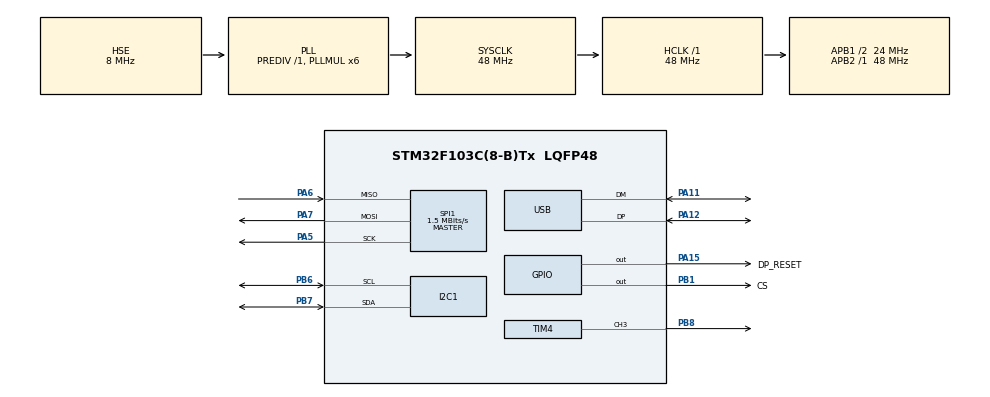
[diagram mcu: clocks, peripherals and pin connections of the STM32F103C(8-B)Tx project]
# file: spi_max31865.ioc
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FREERTOS.Tasks01=defaultTask,24,128,StartDefaultTask,Default,NULL,Dynamic,NULL,NULL
FREERTOS.configUSE_NEWLIB_REENTRANT=1
FREERTOS.configUSE_TICKLESS_IDLE=1
I2C1.I2C_Mode=I2C_Fast
Mcu.Family=STM32F1
Mcu.Name=STM32F103C(8-B)Tx
Mcu.Package=LQFP48
NVIC.I2C1_EV_IRQn=true\:5\:0\:false\:false\:true\:true\:true\:true\:true
NVIC.PriorityGroup=NVIC_PRIORITYGROUP_4
NVIC.TIM2_IRQn=true\:15\:0\:false\:false\:true\:false\:false\:true\:true
NVIC.TimeBase=TIM2_IRQn
NVIC.TimeBaseIP=TIM2
NVIC.USB_LP_CAN1_RX0_IRQn=true\:5\:0\:false\:false\:true\:true\:false\:true\:true
PA11.Mode=Device
PA11.Signal=USB_DM
PA12.Mode=Device
PA12.Signal=USB_DP
PA13.Mode=Serial_Wire
PA13.Signal=SYS_JTMS-SWDIO
PA14.Mode=Serial_Wire
PA14.Signal=SYS_JTCK-SWCLK
PA15.GPIO_Label=DP_RESET
PA15.PinState=GPIO_PIN_SET
PA15.Signal=GPIO_Output
PA5.Mode=Full_Duplex_Master
PA5.Signal=SPI1_SCK
PA6.Mode=Full_Duplex_Master
PA6.Signal=SPI1_MISO
PA7.Mode=Full_Duplex_Master
PA7.Signal=SPI1_MOSI
PB1.GPIO_Label=CS
PB1.GPIO_Speed=GPIO_SPEED_FREQ_HIGH
PB1.PinState=GPIO_PIN_SET
PB1.Signal=GPIO_Output
PB6.Mode=I2C
PB6.Signal=I2C1_SCL
PB7.Mode=I2C
PB7.Signal=I2C1_SDA
PB8.Signal=S_TIM4_CH3
PD0-OSC_IN.Mode=HSE-External-Oscillator
PD0-OSC_IN.Signal=RCC_OSC_IN
PD1-OSC_OUT.Mode=HSE-External-Oscillator
PD1-OSC_OUT.Signal=RCC_OSC_OUT
ProjectManager.HeapSize=0x200
ProjectManager.StackSize=0x400
ProjectManager.TargetToolchain=STM32CubeIDE
RCC.AHBFreq_Value=48000000
RCC.APB1CLKDivider=RCC_HCLK_DIV2
RCC.APB1Freq_Value=24000000
RCC.APB1TimFreq_Value=48000000
RCC.APB2Freq_Value=48000000
RCC.APB2TimFreq_Value=48000000
RCC.EnbaleCSS=true
RCC.HCLKFreq_Value=48000000
RCC.PLLMUL=RCC_PLL_MUL6
RCC.PLLSourceVirtual=RCC_PLLSOURCE_HSE
RCC.SYSCLKFreq_VALUE=48000000
RCC.SYSCLKSource=RCC_SYSCLKSOURCE_PLLCLK
RCC.USBFreq_Value=48000000
SH.S_TIM4_CH3.0=TIM4_CH3,PWM Generation3 CH3
SPI1.BaudRatePrescaler=SPI_BAUDRATEPRESCALER_32
SPI1.CLKPhase=SPI_PHASE_2EDGE
SPI1.CalculateBaudRate=1.5 MBits/s
SPI1.Direction=SPI_DIRECTION_2LINES
SPI1.Mode=SPI_MODE_MASTER
SPI1.VirtualType=VM_MASTER
TIM4.AutoReloadPreload=TIM_AUTORELOAD_PRELOAD_ENABLE
TIM4.Channel-PWM\ Generation3\ CH3=TIM_CHANNEL_3
TIM4.CounterMode=TIM_COUNTERMODE_UP
TIM4.OCPolarity_3=TIM_OCPOLARITY_HIGH
TIM4.Period=4800-1
TIM4.Prescaler=0
TIM4.Pulse-PWM\ Generation3\ CH3=0
USB_DEVICE.CLASS_NAME_FS=CUSTOM_HID
USB_DEVICE.PID_CUSTOMHID_FS=22356
USB_DEVICE.PRODUCT_STRING_CUSTOMHID_FS=Infrared Soldering Station
USB_DEVICE.USBD_CUSTOMHID_OUTREPORT_BUF_SIZE=4
USB_DEVICE.USBD_CUSTOM_HID_REPORT_DESC_SIZE=27
USB_DEVICE.VirtualMode=CustomHid
USB_DEVICE.VirtualModeFS=Custom_Hid_FS
VP_FREERTOS_VS_CMSIS_V2.Mode=CMSIS_V2
VP_SYS_VS_tim2.Mode=TIM2
VP_TIM4_VS_ClockSourceINT.Mode=Internal
VP_USB_DEVICE_VS_USB_DEVICE_CUSTOM_HID_FS.Mode=CUSTOM_HID_FS
board=custom

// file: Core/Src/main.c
/* USER CODE BEGIN Header */
/**
 ******************************************************************************
 * @file           : main.c
 * @brief          : Main program body
 ******************************************************************************
 * @attention
 *
 * Copyright (c) 2025 STMicroelectronics.
 * All rights reserved.
 *
 * This software is licensed under terms that can be found in the LICENSE file
 * in the root directory of this software component.
 * If no LICENSE file comes with this software, it is provided AS-IS.
 *
 ******************************************************************************
 */
/* USER CODE END Header */
#include "main.h"
#include "cmsis_os.h"
#include "i2c.h"
#include "spi.h"
#include "tim.h"
#include "usb_device.h"
#include "gpio.h"

/* USER CODE BEGIN Includes */
#include <stdio.h>
#include "ssd1306.h"
#include "ssd1306_fonts.h"
#include "max31865.h"
/* USER CODE END Includes */

/* USER CODE BEGIN PD */
#define osCMSIS_FREERTOS_C 0
/* USER CODE END PD */

/* USER CODE BEGIN PV */
MAX31865_t hMAX31865 = { .spi = &hspi1, .cs_gpio = CS_GPIO_Port, .cs_pin = CS_Pin };
/* USER CODE END PV */

void SystemClock_Config(void);
void MX_FREERTOS_Init(void);

int main(void)
{

  /* MCU Configuration--------------------------------------------------------*/

  /* Reset of all peripherals, Initializes the Flash interface and the Systick. */
  HAL_Init();

  /* Configure the system clock */
  SystemClock_Config();

  /* Initialize all configured peripherals */
  MX_GPIO_Init();
  MX_I2C1_Init();
  MX_SPI1_Init();
  MX_TIM4_Init();
  /* USER CODE BEGIN 2 */
  ssd1306_Init();
  ssd1306_Fill(Black);

  Max31865_Init(&hMAX31865, MAX31865_2_WIRE);
  /* USER CODE END 2 */

  /* Init scheduler */
  osKernelInitialize();  /* Call init function for freertos objects (in cmsis_os2.c) */
  MX_FREERTOS_Init();

  /* Start scheduler */
  osKernelStart();

  /* We should never get here as control is now taken by the scheduler */

  /* Infinite loop */
  while (1) {

  }
}

void SystemClock_Config(void)
{
  RCC_OscInitTypeDef RCC_OscInitStruct = {0};
  RCC_ClkInitTypeDef RCC_ClkInitStruct = {0};
  RCC_PeriphCLKInitTypeDef PeriphClkInit = {0};

  /** Initializes the RCC Oscillators according to the specified parameters
  * in the RCC_OscInitTypeDef structure.
  */
  RCC_OscInitStruct.OscillatorType = RCC_OSCILLATORTYPE_HSE;
  RCC_OscInitStruct.HSEState = RCC_HSE_ON;
  RCC_OscInitStruct.HSEPredivValue = RCC_HSE_PREDIV_DIV1;
  RCC_OscInitStruct.HSIState = RCC_HSI_ON;
  RCC_OscInitStruct.PLL.PLLState = RCC_PLL_ON;
  RCC_OscInitStruct.PLL.PLLSource = RCC_PLLSOURCE_HSE;
  RCC_OscInitStruct.PLL.PLLMUL = RCC_PLL_MUL6;
  if (HAL_RCC_OscConfig(&RCC_OscInitStruct) != HAL_OK)
  {
    Error_Handler();
  }

  /** Initializes the CPU, AHB and APB buses clocks
  */
  RCC_ClkInitStruct.ClockType = RCC_CLOCKTYPE_HCLK|RCC_CLOCKTYPE_SYSCLK
                              |RCC_CLOCKTYPE_PCLK1|RCC_CLOCKTYPE_PCLK2;
  RCC_ClkInitStruct.SYSCLKSource = RCC_SYSCLKSOURCE_PLLCLK;
  RCC_ClkInitStruct.AHBCLKDivider = RCC_SYSCLK_DIV1;
  RCC_ClkInitStruct.APB1CLKDivider = RCC_HCLK_DIV2;
  RCC_ClkInitStruct.APB2CLKDivider = RCC_HCLK_DIV1;

  if (HAL_RCC_ClockConfig(&RCC_ClkInitStruct, FLASH_LATENCY_1) != HAL_OK)
  {
    Error_Handler();
  }
  PeriphClkInit.PeriphClockSelection = RCC_PERIPHCLK_USB;
  PeriphClkInit.UsbClockSelection = RCC_USBCLKSOURCE_PLL;
  if (HAL_RCCEx_PeriphCLKConfig(&PeriphClkInit) != HAL_OK)
  {
    Error_Handler();
  }

  /** Enables the Clock Security System
  */
  HAL_RCC_EnableCSS();
}

void HAL_TIM_PeriodElapsedCallback(TIM_HandleTypeDef *htim)
{
  if (htim->Instance == TIM2)
  {
    HAL_IncTick();
  }
}

void Error_Handler(void)
{
  __disable_irq();
  while (1) {
  }
}

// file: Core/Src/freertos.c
/* USER CODE BEGIN Header */
/**
 ******************************************************************************
 * File Name          : freertos.c
 * Description        : Code for freertos applications
 ******************************************************************************
 * @attention
 *
 * Copyright (c) 2025 STMicroelectronics.
 * All rights reserved.
 *
 * This software is licensed under terms that can be found in the LICENSE file
 * in the root directory of this software component.
 * If no LICENSE file comes with this software, it is provided AS-IS.
 *
 ******************************************************************************
 */
/* USER CODE END Header */

#include "FreeRTOS.h"
#include "task.h"
#include "main.h"
#include "cmsis_os.h"

/* USER CODE BEGIN Includes */
#include <stdbool.h>
#include "queue.h"
#include "usbd_customhid.h"
#include "ssd1306.h"
#include "ssd1306_fonts.h"
#include "max31865.h"
#include "my_functions.h"
#include "definition.h"
/* USER CODE END Includes */

/* USER CODE BEGIN PD */
// Тайминги (в мс)
#define DT 500
/* USER CODE END PD */

/* USER CODE BEGIN Variables */
TaskHandle_t taskShowHandle;

/*QueueHandle_t xQueueSSD1306;*/
extern USBD_HandleTypeDef hUsbDeviceFS;
extern TIM_HandleTypeDef htim4;

// Данные полученные по USB
extern varReceivingUSB_t receivingData;
extern MAX31865_t hMAX31865;
varMAX31865_t varData;
/* USER CODE END Variables */
/* Definitions for defaultTask */
osThreadId_t defaultTaskHandle;
const osThreadAttr_t defaultTask_attributes = { .name = "defaultTask", .stack_size = 128 * 4, .priority = (osPriority_t) osPriorityNormal, };

/* USER CODE BEGIN FunctionPrototypes */
// Обработчик ошибок
void vErrorHandler(void);
// Прототип callback фукнции задачи получения значения температуры с датчика MAX31865
void vTaskGetTemp(void *argument);
// Прототип callback функции задачи вывода на экран данных, из очереди задач
void vTaskShow(void *argument);
/* USER CODE END FunctionPrototypes */

void StartDefaultTask(void *argument);

extern void MX_USB_DEVICE_Init(void);
void MX_FREERTOS_Init(void); /* (MISRA C 2004 rule 8.1) */

/* USER CODE BEGIN PREPOSTSLEEP */
__weak void PreSleepProcessing(uint32_t ulExpectedIdleTime) {
  /* place for user code */
}

__weak void PostSleepProcessing(uint32_t ulExpectedIdleTime) {
  /* place for user code */
}
/* USER CODE END PREPOSTSLEEP */

void MX_FREERTOS_Init(void) {

  /* Create the thread(s) */
  /* creation of defaultTask */
  defaultTaskHandle = osThreadNew(StartDefaultTask, NULL, &defaultTask_attributes);

  /* USER CODE BEGIN RTOS_THREADS */
  // Задача получения температуры с датчика MAX31865
  if (xTaskCreate(vTaskGetTemp, NULL, 128, NULL, osPriorityNormal, NULL) == pdFAIL) {
    vErrorHandler();
  }
  // Задача вывода значения температуры на экран
  if (xTaskCreate(vTaskShow, NULL, 128, NULL, osPriorityNormal, &taskShowHandle) == pdFAIL) {
    vErrorHandler();
  }
  /* USER CODE END RTOS_THREADS */

}

void StartDefaultTask(void *argument) {
  /* init code for USB_DEVICE */
  MX_USB_DEVICE_Init();
  /* USER CODE BEGIN StartDefaultTask */
  TickType_t xLastWakeTime = xTaskGetTickCount();
  float dt = DT / 1000.0f;
  const float setPoint = 220.0f;        // Целевая температура

  float deltaPerCycle = 4 * dt;         // Скорость нагрева 2°C/цикл
  float deltaTemp = 0.0f;               // Разность между уставкой setPoint и текущй температурой
  float boostKp = setPoint / 5.0f;      // На данном участке Kp увеличивается
  float limitedSetpoint = 0.0f;         // Ограниченная уставка
  float deltaSetpoint = 0.0f;

  const float minOut = 0.0f;
  //float maxOut = (float) htim4.Init.Period + 1;
  const float maxOut = 4800.0f;
  float errorCurrent = 0.0f;
  float errorIntegral = 0.0f;

  float result = 0.0f;

  // Сбрасываем линию USB_DP при перезагрузке микроконтроллера
  HAL_GPIO_WritePin(DP_RESET_GPIO_Port, DP_RESET_Pin, GPIO_PIN_RESET);
  vTaskDelay(20);
  HAL_GPIO_WritePin(DP_RESET_GPIO_Port, DP_RESET_Pin, GPIO_PIN_SET);

  for (;;) {
    // Ожидание данных из очереди
    if (receivingData.reportID == 1) {
      // Проверяем, активен ли выход канала 3, если нет, то запускаем ШИМ
      if ((TIM4->CCER & TIM_CCER_CC3E) == 0) {
        HAL_TIM_PWM_Start(&htim4, TIM_CHANNEL_3);
        limitedSetpoint = varData.temp;  // Начинаем с текущей температуры
      }

      // Вычисляем разность между целевой и ограниченной уставками
      deltaSetpoint = setPoint - limitedSetpoint;

      // Применение ограничения скорости
      if (deltaSetpoint > deltaPerCycle) {
        // Нагревание, с каждым циклом увеличиваем limitedSetpoint на 2°C/цикл
        limitedSetpoint += deltaPerCycle;
      } else if (deltaSetpoint < -deltaPerCycle) {
        // Остывание, с каждым циклом уменьшаем limited_setpoint на 2°C/цикл
        limitedSetpoint -= deltaPerCycle;
      } else {
        // Температура достигла уставки
        limitedSetpoint = setPoint;
      }

      // Вычисление ошибки, разница между уставкой и измеренной температурой
      errorCurrent = limitedSetpoint - varData.temp;

      errorIntegral += errorCurrent * dt * receivingData.ki / 5.0f;

      deltaTemp = setPoint - varData.temp;
      if (deltaTemp < boostKp && deltaTemp > 0) {
        // Увеличение коэффициента kp включаем только при приближении к setPoint, снизу
        result = errorCurrent * receivingData.kp * 2 + errorIntegral;
      } else {
        result = errorCurrent * receivingData.kp + errorIntegral;
      }

      // Проверяем насыщение выхода
      if (result >= maxOut) {
        result = maxOut;
      } else if (result <= minOut) {
        result = minOut;
      }

      htim4.Instance->CCR3 = (uint16_t) result;
    } else if (receivingData.reportID == 2) {
      // Проверяем, активен ли выход канала 3, если да, то останавливаем ШИМ
      if (TIM4->CCER & TIM_CCER_CC3E) {
        HAL_TIM_PWM_Stop(&htim4, TIM_CHANNEL_3);
        htim4.Instance->CCR3 = 0;
        errorIntegral = 400.0f;
      }
    }
    vTaskDelayUntil(&xLastWakeTime, pdMS_TO_TICKS(DT));
  }
  /* USER CODE END StartDefaultTask */
}

/* USER CODE BEGIN Application */
void vErrorHandler() {
  __set_FAULTMASK(1); // Запрещаем все маскируемые прерывания
  NVIC_SystemReset(); // Программный сброс
}

// Callback фукнция задачи получения значения температуры с датчика MAX31865
void vTaskGetTemp(void *argument) {
  TickType_t xLastWakeTime = xTaskGetTickCount();
  bool flagShow = true;

  for (;;) {
    varData.temp = Max31865_ReadTempC(&hMAX31865, &varData.res);
    //if (show1s >= 4) {
    if (flagShow) {
      // Отправляем уведомление задаче вывода информации на дисплей
      xTaskNotifyGive(taskShowHandle);
    }
    flagShow ^= true;
    vTaskDelayUntil(&xLastWakeTime, pdMS_TO_TICKS(DT));
  }
}

// Callback функция задачи вывода на экран данных, из очереди задач
void vTaskShow(void *argument) {
  char tempStr[10] = { 0 };
  char resStr[10] = { 0 };
  uint8_t x = 0, y = 0, yMiddle = SSD1306_HEIGHT / 2 - Font_7x10.height / 2;
  int length = 0;
  DataNum_t tempArr;
  uint8_t sendArray[5];
  uint16_t timeCount = 0;

  for (;;) {
    // Ожидаем уведомление
    ulTaskNotifyTake(pdTRUE, portMAX_DELAY);
    length = floatToString(tempStr, 10, varData.temp);
    // Выводим значение температуры на дисплей
    x = (SSD1306_WIDTH - length * Font_7x10.width) / 2;
    y = yMiddle - 10;
    ssd1306_SetCursor(x, y);
    ssd1306_WriteString(tempStr, Font_7x10, White);

    length = floatToString(resStr, 10, varData.res);
    // Выводим значение сопротивления датчика PT100 на дисплей
    x = (SSD1306_WIDTH - length * Font_7x10.width) / 2;
    y = yMiddle + 10;
    ssd1306_SetCursor(x, y);
    ssd1306_WriteString(resStr, Font_7x10, White);

    ssd1306_UpdateScreen();

    // Отправляем измененную температуру и время в секундах, по линии USB
    tempArr = transformFloat(varData.temp);
    memcpy(sendArray, tempArr.array, 3);
    if (receivingData.reportID == 1) {
      sendArray[3] = timeCount >> 8;
      sendArray[4] = timeCount & 0xFF;
      timeCount++;
    } else if (receivingData.reportID == 2 && timeCount != 0) {
      sendArray[3] = 0;
      sendArray[4] = 0;
      timeCount = 0;
    }
    USBD_CUSTOM_HID_SendReport(&hUsbDeviceFS, sendArray, 5);
  }
}
/* USER CODE END Application */
